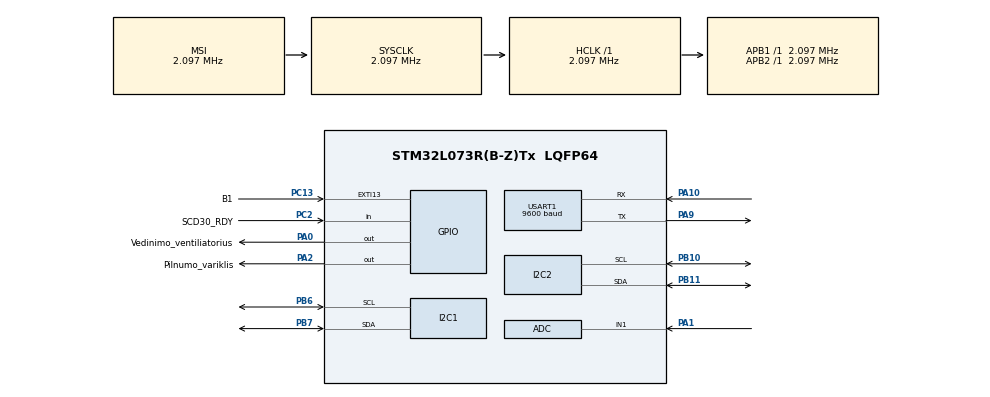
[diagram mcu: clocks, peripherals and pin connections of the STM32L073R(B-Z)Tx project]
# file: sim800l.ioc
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I2C1.Timing=0x00000608
I2C2.Timing=0x00000608
Mcu.Family=STM32L0
Mcu.Name=STM32L073R(B-Z)Tx
Mcu.Package=LQFP64
NVIC.USART1_IRQn=true\:0\:0\:false\:false\:true\:true\:true\:true
PA0.GPIO_Label=Vedinimo_ventiliatorius
PA0.Signal=GPIO_Output
PA1.Mode=IN1
PA1.Signal=ADC_IN1
PA10.Mode=Asynchronous
PA10.Signal=USART1_RX
PA13.GPIO_Label=TMS
PA13.Mode=Serial_Wire
PA13.Signal=SYS_SWDIO
PA14.GPIO_Label=TCK
PA14.Mode=Serial_Wire
PA14.Signal=SYS_SWCLK
PA2.GPIO_Label=Pilnumo_variklis
PA2.Signal=GPIO_Output
PA9.Mode=Asynchronous
PA9.Signal=USART1_TX
PB10.Mode=I2C
PB10.Signal=I2C2_SCL
PB11.Mode=I2C
PB11.Signal=I2C2_SDA
PB6.Mode=I2C
PB6.Signal=I2C1_SCL
PB7.Mode=I2C
PB7.Signal=I2C1_SDA
PC13.GPIO_Label=B1 
PC13.GPIO_ModeDefaultEXTI=GPIO_MODE_IT_FALLING
PC13.Signal=GPXTI13
PC14-OSC32_IN.Mode=LSE-External-Oscillator
PC14-OSC32_IN.Signal=RCC_OSC32_IN
PC15-OSC32_OUT.Mode=LSE-External-Oscillator
PC15-OSC32_OUT.Signal=RCC_OSC32_OUT
PC2.GPIO_Label=SCD30_RDY
PC2.Signal=GPIO_Input
PH0-OSC_IN.GPIO_Label=MCO
PH0-OSC_IN.Mode=HSE-External-Clock-Source
PH0-OSC_IN.Signal=RCC_OSC_IN
ProjectManager.HeapSize=0x200
ProjectManager.StackSize=0x400
ProjectManager.TargetToolchain=STM32CubeIDE
RCC.AHBFreq_Value=2097000
RCC.APB1Freq_Value=2097000
RCC.APB1TimFreq_Value=2097000
RCC.APB2Freq_Value=2097000
RCC.APB2TimFreq_Value=2097000
RCC.HSE_VALUE=8000000
RCC.HSI16_VALUE=16000000
RCC.HSI48_VALUE=48000000
RCC.HSI_VALUE=16000000
RCC.MSI_VALUE=2097000
RCC.SYSCLKFreq_VALUE=2097000
RCC.VCOOutputFreq_Value=48000000
USART1.BaudRate=9600
USART1.VirtualMode-Asynchronous=VM_ASYNC
board=NUCLEO-L073RZ

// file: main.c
/* USER CODE BEGIN Header */
/**
  ******************************************************************************
  * @file           : main.c
  * @brief          : Main program body
  ******************************************************************************
  * @attention
  *
  * Copyright (c) 2025 STMicroelectronics.
  * All rights reserved.
  *
  * This software is licensed under terms that can be found in the LICENSE file
  * in the root directory of this software component.
  * If no LICENSE file comes with this software, it is provided AS-IS.
  *
  ******************************************************************************
  */
/* USER CODE END Header */
#include "main.h"

/* USER CODE BEGIN Includes */
#include <stdlib.h>
#include <string.h>
#include <stdio.h>
#include <stdbool.h>
#include <math.h>
/* USER CODE END Includes */

ADC_HandleTypeDef hadc;

I2C_HandleTypeDef hi2c1;
I2C_HandleTypeDef hi2c2;

UART_HandleTypeDef huart1;

/* USER CODE BEGIN PV */

/* ====== KONFIGŪRACIJA ====== */
#define SIM800_UART                 huart1

#define DEVICE_ID     "bokstas-001"
#define PHONE_NUMBER  "+37062735795"   // <-- pakeisk
#define SMS_PERIOD_MS 60000UL

/* ====== SHT40 + PCA9548A KONFIGŪRACIJA ====== */
#define SHT40_ADDR                  (0x44 << 1)      // 7-bit address shifted for HAL
#define SHT40_MEASURE_HIGH_PREC     0xFD
#define PCA9548A_ADDR               (0x70 << 1)

#define TEMP_RIBA                   25.0f  //25.0f
#define DREGMES_RIBA                14.5f  //14.5f

#define JUTIKLIU_KIEKIS             6

#define CURRENT_LIMIT_MA  910.0f
#define SHUNT_RESISTOR    0.1f
#define ADC_REF_VOLTAGE   3.3f

/* “MC” formulės konstantos */
static const float A_const = 0.000043295f;
static const float B_const = 2.11190f;
static const float C_const = 41.565f;

/* Matavimų buferiai */
static float temp[JUTIKLIU_KIEKIS];
static float hum_mc[JUTIKLIU_KIEKIS];
static uint8_t valid[JUTIKLIU_KIEKIS];

static uint32_t last_sms = 0;
static uint32_t last_measure = 0;

static int scd30_status = 0;   // 0=init, 1=started, -1=no dev, -2=start fail, -3=read fail
static uint32_t scd30_last_read = 0;

static uint32_t motor_cycle_timer = 0;
static uint8_t motor_active = 0;
static uint32_t last_current_measure = 0;

float current = 0;

uint32_t motor_start_time = 0;
#define MOTOR_STARTUP_IGNORE_MS 1500  // 1.5 sekundės ignoruojame šuolį

#define SCD30_ADDR                  (0x61 << 1)

/* SCD30 reikšmės */
static float scd30_co2_ppm = 0.0f;
static float scd30_temp_c  = 0.0f;
static float scd30_rh_pct  = 0.0f;

static uint8_t scd30_started = 0;
static uint32_t scd30_next_poll = 0;

/* USER CODE END PV */

void SystemClock_Config(void);
static void MX_GPIO_Init(void);
static void MX_USART1_UART_Init(void);
static void MX_I2C1_Init(void);
static void MX_I2C2_Init(void);
static void MX_ADC_Init(void);
/* USER CODE BEGIN PFP */

static void SIM800_SendCmd(const char *cmd);
static void SIM800_SendSMS(const char *number, const char *text);

static HAL_StatusTypeDef PCA9548A_SelectChannel(uint8_t channel);
static HAL_StatusTypeDef SHT40_Read(uint8_t channel, float *temperatura, float *dregme_mc);

/* SCD30 */
static uint8_t scd30_crc8(const uint8_t *data, int len);
static HAL_StatusTypeDef SCD30_StartContinuousMeasurement(void);
static HAL_StatusTypeDef SCD30_GetDataReady(uint8_t *ready);
static HAL_StatusTypeDef SCD30_ReadMeasurement(float *co2_ppm, float *temp_c, float *rh_pct);
static void SCD30_Task(void);

/* Formatavimas su kableliu */
static void fmt_float_comma(char *out, size_t out_sz, float v, int decimals);

float Measure_Current(void);
void SIM800_Init_Receive(void);
/* USER CODE END PFP */

/* USER CODE BEGIN 0 */

float Measure_Current(void) {
    uint32_t total_raw = 0;
    int samples = 10; // nuskaitome 10 kartų

    for(int i = 0; i < samples; i++) {
        HAL_ADC_Start(&hadc);
        HAL_ADC_PollForConversion(&hadc, 2);
        total_raw += HAL_ADC_GetValue(&hadc);
    }

    float avg_raw = (float)total_raw / samples;
    float voltage = (avg_raw * ADC_REF_VOLTAGE) / 4095.0f;
    return (voltage / SHUNT_RESISTOR) * 1000.0f;
}

// Funkcija išvalyti SIM800 buferį ir paruošti priėmimui
void SIM800_Init_Receive(void) {
    SIM800_SendCmd("AT+CNMI=2,2,0,0,0\r\n"); // Tiesioginis SMS rodymas UART'e
}

/* ---------------- Pagalbinė funkcija: float -> "12,34" ---------------- */
static void fmt_float_comma(char *out, size_t out_sz, float v, int decimals)
{
    if (!out || out_sz == 0) return;

    char fmt[8];
    // pvz. "%.2f"
    snprintf(fmt, sizeof(fmt), "%%.%df", decimals);

    snprintf(out, out_sz, fmt, (double)v);

    // pakeičiam '.' į ','
    for (size_t i = 0; i < out_sz && out[i] != '\0'; i++)
    {
        if (out[i] == '.')
            out[i] = ',';
    }
}

/* ---------------- SIM800 ---------------- */
static void SIM800_SendCmd(const char *cmd)
{
    HAL_UART_Transmit(&huart1, (uint8_t*)cmd, (uint16_t)strlen(cmd), 1000);
    HAL_Delay(300);
}

static void SIM800_SendSMS(const char *number, const char *text)
{
    char cmd[64];

    SIM800_SendCmd("AT\r\n");
    SIM800_SendCmd("ATE0\r\n");
    SIM800_SendCmd("AT+CMGF=1\r\n");   // SMS TEXT MODE

    snprintf(cmd, sizeof(cmd), "AT+CMGS=\"%s\"\r\n", number);
    SIM800_SendCmd(cmd);

    HAL_UART_Transmit(&huart1, (uint8_t*)text, (uint16_t)strlen(text), 3000);

    uint8_t ctrlZ = 26;
    HAL_UART_Transmit(&huart1, &ctrlZ, 1, 1000);

    HAL_Delay(5000); // palaukiam išsiuntimo
}

/* ---------------- PCA9548A ---------------- */
static HAL_StatusTypeDef PCA9548A_SelectChannel(uint8_t channel)
{
    uint8_t data = (uint8_t)(1U << channel);
    return HAL_I2C_Master_Transmit(&hi2c1, PCA9548A_ADDR, &data, 1, 20);
}

/* ---------------- SHT40 ---------------- */
static HAL_StatusTypeDef SHT40_Read(uint8_t channel, float *temperatura, float *dregme_mc)
{
    uint8_t cmd = SHT40_MEASURE_HIGH_PREC;
    uint8_t data[6];
    HAL_StatusTypeDef status;

    status = PCA9548A_SelectChannel(channel);
    if (status != HAL_OK)
    {
        *temperatura = 0.0f;
        *dregme_mc   = 0.0f;
        return status;
    }

    status = HAL_I2C_IsDeviceReady(&hi2c1, SHT40_ADDR, 2, 20);
    if (status != HAL_OK)
    {
        *temperatura = 0.0f;
        *dregme_mc   = 0.0f;
        return status;
    }

    status = HAL_I2C_Master_Transmit(&hi2c1, SHT40_ADDR, &cmd, 1, 50);
    if (status != HAL_OK)
    {
        *temperatura = 0.0f;
        *dregme_mc   = 0.0f;
        return status;
    }

    HAL_Delay(10);

    status = HAL_I2C_Master_Receive(&hi2c1, SHT40_ADDR, data, 6, 50);
    if (status != HAL_OK)
    {
        *temperatura = 0.0f;
        *dregme_mc   = 0.0f;
        return status;
    }

    uint16_t rawT  = (uint16_t)((data[0] << 8) | data[1]);
    uint16_t rawRH = (uint16_t)((data[3] << 8) | data[4]);

    *temperatura = -45.0f + (175.0f * (float)rawT  / 65535.0f);      // °C
    float rh_pct = -6.0f  + (125.0f * (float)rawRH / 65535.0f);      // %RH

    /* MC = [ -ln(1 - RH) / (A * (T + C)) ]^(1/B) */
    float RH = rh_pct / 100.0f;
    if (RH <= 0.0f) RH = 0.0001f;
    if (RH >= 1.0f) RH = 0.9999f;

    float skaitiklis   = -logf(1.0f - RH);
    float vardiklis    = A_const * (*temperatura + C_const);
    float skliaustuose = skaitiklis / vardiklis;

    if (skliaustuose <= 0.0f)
    {
        *dregme_mc = 0.0f;
        return HAL_OK;
    }

    float MC = powf(skliaustuose, 1.0f / B_const);
    float MC_wb = (MC / (100.0f + MC)) * 100.0f;

    *dregme_mc = MC_wb;

    return HAL_OK;
}

/* ================= SCD30 ================= */
static uint8_t scd30_crc8(const uint8_t *data, int len)
{
    // CRC-8 polynomial 0x31, init 0xFF (Sensirion)
    uint8_t crc = 0xFF;
    for (int i = 0; i < len; i++)
    {
        crc ^= data[i];
        for (int b = 0; b < 8; b++)
        {
            crc = (crc & 0x80) ? (uint8_t)((crc << 1) ^ 0x31) : (uint8_t)(crc << 1);
        }
    }
    return crc;
}

static HAL_StatusTypeDef SCD30_StartContinuousMeasurement(void)
{
    // Command: 0x0010, arg: 0x0000 (ambient pressure disabled)
    uint8_t cmd[5];
    cmd[0] = 0x00; cmd[1] = 0x10;
    cmd[2] = 0x00; cmd[3] = 0x00;
    cmd[4] = scd30_crc8(&cmd[2], 2);

    return HAL_I2C_Master_Transmit(&hi2c2, SCD30_ADDR, cmd, 5, 200);
}

static inline uint8_t SCD30_DataReady_GPIO(void)
{
    return (HAL_GPIO_ReadPin(SCD30_RDY_GPIO_Port, SCD30_RDY_Pin) == GPIO_PIN_SET);
}

static HAL_StatusTypeDef SCD30_ReadMeasurement(float *co2_ppm, float *temp_c, float *rh_pct)
{
    // Command: 0x0300, read 3 floats => 18 bytes (2 bytes + CRC per word)
    uint8_t cmd[2] = {0x03, 0x00};
    uint8_t rx[18];

    if (HAL_I2C_Master_Transmit(&hi2c2, SCD30_ADDR, cmd, 2, 200) != HAL_OK)
        return HAL_ERROR;

    HAL_Delay(2);

    if (HAL_I2C_Master_Receive(&hi2c2, SCD30_ADDR, rx, 18, 200) != HAL_OK)
        return HAL_ERROR;

    for (int i = 0; i < 18; i += 3)
    {
        if (scd30_crc8(&rx[i], 2) != rx[i + 2])
            return HAL_ERROR;
    }

    uint32_t co2_u =
        ((uint32_t)rx[0] << 24) | ((uint32_t)rx[1] << 16) |
        ((uint32_t)rx[3] <<  8) | ((uint32_t)rx[4] <<  0);

    uint32_t t_u =
        ((uint32_t)rx[6] << 24) | ((uint32_t)rx[7] << 16) |
        ((uint32_t)rx[9] <<  8) | ((uint32_t)rx[10] << 0);

    uint32_t rh_u =
        ((uint32_t)rx[12] << 24) | ((uint32_t)rx[13] << 16) |
        ((uint32_t)rx[15] <<  8) | ((uint32_t)rx[16] << 0);

    memcpy(co2_ppm, &co2_u, 4);
    memcpy(temp_c,  &t_u,   4);
    memcpy(rh_pct,  &rh_u,  4);

    return HAL_OK;
}

static void SCD30_Task(void)
{
	uint32_t now = HAL_GetTick();

	    /* 1) Startuojam vieną kartą */
	    if (!scd30_started)
	    {
	        if (HAL_I2C_IsDeviceReady(&hi2c2, SCD30_ADDR, 3, 100) != HAL_OK)
	        {
	            scd30_status = -1; // nemato per I2C
	            return;
	        }

	        if (SCD30_StartContinuousMeasurement() != HAL_OK)
	        {
	            scd30_status = -2; // start fail
	            return;
	        }

	        scd30_started   = 1;
	        scd30_status    = 1;
	        scd30_next_poll = now + 2500;   // laukiam pirmo matavimo
	        return;
	    }

	    /* 2) Neskaitom per dažnai */
	    if ((int32_t)(now - scd30_next_poll) < 0)
	        return;

	    /* 3) Tikrinam RDY PINĄ */
	    if (!SCD30_DataReady_GPIO())
	    {
	        // dar nėra naujų duomenų
	        return;
	    }

	    /* 4) Bandom skaityti */
	    if (SCD30_ReadMeasurement(&scd30_co2_ppm,
	                              &scd30_temp_c,
	                              &scd30_rh_pct) != HAL_OK)
	    {
	        scd30_status = -3; // read / CRC fail
	        scd30_next_poll = now + 1000; // bandysim dar kartą po 1s
	        return;
	    }

	    /* 5) Sėkmingas skaitymas */
	    scd30_status    = 1;
	    scd30_last_read = now;
	    scd30_next_poll = now + 2000; // SCD30 tipinis intervalas
}

/* USER CODE END 0 */

int main(void)
{

  /* MCU Configuration--------------------------------------------------------*/

  /* Reset of all peripherals, Initializes the Flash interface and the Systick. */
  HAL_Init();

  /* Configure the system clock */
  SystemClock_Config();

  /* Initialize all configured peripherals */
  MX_GPIO_Init();
  MX_USART1_UART_Init();
  MX_I2C1_Init();
  MX_I2C2_Init();
  MX_ADC_Init();
  /* USER CODE BEGIN 2 */

  HAL_GPIO_WritePin(Pilnumo_variklis_GPIO_Port, Pilnumo_variklis_Pin, GPIO_PIN_SET);

  HAL_Delay(4000); // SIM800 boot

    last_sms = HAL_GetTick();
    last_measure = HAL_GetTick();
    scd30_next_poll = HAL_GetTick() + 1000;

    SIM800_Init_Receive();

  /* USER CODE END 2 */

  /* Infinite loop */
  /* USER CODE BEGIN WHILE */
    while (1)
     {

    	 uint32_t now = HAL_GetTick();

    	      /* SCD30 atnaujinam kas ~1s (CO2 + T + RH) */
    	      SCD30_Task();

    	      // 1. Tikriname, ar laikas paleisti variklį (kas 60000 ms)
    	          if (!motor_active && (now - motor_cycle_timer >= 60000UL))
    	          {
    	              motor_cycle_timer = now;
    	              motor_start_time = now;
    	              motor_active = 1;
    	              // ĮJUNGTI variklį (RESET = ON jūsų schemoje)
    	              HAL_GPIO_WritePin(Pilnumo_variklis_GPIO_Port, Pilnumo_variklis_Pin, GPIO_PIN_RESET);
    	          }

    	          // 2. Jei variklis veikia, tikriname srovę ir veikimo laiką
    	          if (motor_active)
    	          {
    	        	  // A. PALEIDIMO LOGIKA: Kas 60 sekundžių įjungiam variklį
    	        	  if (!motor_active && (now - motor_cycle_timer >= 60000UL)) {
    	        	      motor_active = 1;
    	        	      motor_start_time = now; // Užfiksuojam TIKSLŲ įjungimo laiką

    	        	      // ĮJUNGIAM: RESET = ON (pagal jūsų schemą)
    	        	      HAL_GPIO_WritePin(Pilnumo_variklis_GPIO_Port, Pilnumo_variklis_Pin, GPIO_PIN_RESET);
    	        	  }

    	        	  // B. VEIKIMO LOGIKA: Tikrinam srovę ir laiko limitą
    	        	  if (motor_active) {

    	        	      // APSAUGA: Srovę matuojame TIK jei praėjo daugiau nei 1.5s (Startup Ignore)
    	        	      // Tai apsaugo nuo srovės šuolio fiksavimo paleidimo metu
    	        	      if (now - motor_start_time > MOTOR_STARTUP_IGNORE_MS) {

    	        	          // Matuojame srovę kas 200ms, kad neapkrautume procesoriaus
    	        	          if (now - last_current_measure >= 200) {
    	        	              last_current_measure = now;
    	        	              float current = Measure_Current();

    	        	              if (current > CURRENT_LIMIT_MA) {
    	        	                  // STABDOME: viršyta srovė (užsipildė)
    	        	                  motor_active = 0;
    	        	                  HAL_GPIO_WritePin(Pilnumo_variklis_GPIO_Port, Pilnumo_variklis_Pin, GPIO_PIN_SET);
    	        	                  SIM800_SendSMS(PHONE_NUMBER, "FULL");
    	        	                  motor_cycle_timer = now; // Pradedam laukti naujos minutės nuo dabar
    	        	              }
    	        	          }
    	        	      }

    	        	      // C. LAIKO LIMITAS: Jei srovė nebuvo viršyta, po 5s variklį išjungiam
    	        	      if (motor_active && (now - motor_start_time >= 5000UL)) {
    	        	          motor_active = 0;
    	        	          // IŠJUNGIAM: SET = OFF
    	        	          HAL_GPIO_WritePin(Pilnumo_variklis_GPIO_Port, Pilnumo_variklis_Pin, GPIO_PIN_SET);
    	        	          motor_cycle_timer = now; // Ciklas baigtas, laukiam minutės
    	        	      }
    	        	  }
    	          }

    	      /* ---- 1) SHT40 nuskaitymai kas 1s ---- */
    	      if (now - last_measure >= 1000UL)
    	      {
    	          last_measure = now;

    	          if (HAL_I2C_IsDeviceReady(&hi2c1, PCA9548A_ADDR, 2, 20) != HAL_OK)
    	          {
    	              for (uint8_t i = 0; i < JUTIKLIU_KIEKIS; i++)
    	              {
    	                  valid[i]  = 0;
    	                  temp[i]   = 0.0f;
    	                  hum_mc[i] = 0.0f;
    	              }
    	          }
    	          else
    	          {
    	              for (uint8_t i = 0; i < JUTIKLIU_KIEKIS; i++)
    	              {
    	                  HAL_StatusTypeDef st = SHT40_Read(i, &temp[i], &hum_mc[i]);
    	                  valid[i] = (st == HAL_OK) ? 1U : 0U;
    	                  if (!valid[i])
    	                  {
    	                      temp[i]   = 0.0f;
    	                      hum_mc[i] = 0.0f;
    	                  }
    	              }
    	          }

    	          /* Ventiliatoriaus logika pagal ribas (SHT40) */
    	          uint8_t overLimit = 0;
    	          for (uint8_t i = 0; i < JUTIKLIU_KIEKIS; i++)
    	          {
    	              if (valid[i])
    	              {
    	                  if (temp[i] > TEMP_RIBA || hum_mc[i] > DREGMES_RIBA)
    	                  {
    	                      overLimit = 1;
    	                      break;
    	                  }
    	              }
    	          }

    	          if (overLimit)
    	          {
    	              HAL_GPIO_WritePin(Vedinimo_ventiliatorius_GPIO_Port,
    	                                Vedinimo_ventiliatorius_Pin,
    	                                GPIO_PIN_RESET);
    	          }
    	          else
    	          {
    	              HAL_GPIO_WritePin(Vedinimo_ventiliatorius_GPIO_Port,
    	                                Vedinimo_ventiliatorius_Pin,
    	                                GPIO_PIN_SET);
    	          }
    	      }

    	      /* ---- 2) SMS kas SMS_PERIOD_MS ---- */
    	      if (now - last_sms >= SMS_PERIOD_MS)
    	      {
    	          last_sms = now;

    	          /* Paruošiam su kableliu */
    	          char T1[16],T2[16],T3[16],T4[16],T5[16],T6[16];
    	          char D1[16],D2[16],D3[16],D4[16],D5[16],D6[16];

    	          float tval[JUTIKLIU_KIEKIS];
    	          float dval[JUTIKLIU_KIEKIS];

    	          for (uint8_t i = 0; i < JUTIKLIU_KIEKIS; i++)
    	          {
    	              if (valid[i])
    	              {
    	                  tval[i] = temp[i];
    	                  dval[i] = hum_mc[i];
    	              }
    	              else
    	              {
    	                  tval[i] = 0.0f;
    	                  dval[i] = 0.0f;
    	              }
    	          }

    	          fmt_float_comma(T1, sizeof(T1), tval[0], 2);
    	          fmt_float_comma(T2, sizeof(T2), tval[1], 2);
    	          fmt_float_comma(T3, sizeof(T3), tval[2], 2);
    	          fmt_float_comma(T4, sizeof(T4), tval[3], 2);
    	          fmt_float_comma(T5, sizeof(T5), tval[4], 2);
    	          fmt_float_comma(T6, sizeof(T6), tval[5], 2);

    	          fmt_float_comma(D1, sizeof(D1), dval[0], 2);
    	          fmt_float_comma(D2, sizeof(D2), dval[1], 2);
    	          fmt_float_comma(D3, sizeof(D3), dval[2], 2);
    	          fmt_float_comma(D4, sizeof(D4), dval[3], 2);
    	          fmt_float_comma(D5, sizeof(D5), dval[4], 2);
    	          fmt_float_comma(D6, sizeof(D6), dval[5], 2);

    	          /* Tall iš SCD30 temperatūros (su kableliu) */
    	          char Tall[16];
    	          if (scd30_started)
    	              fmt_float_comma(Tall, sizeof(Tall), scd30_temp_c, 2);
    	          else
    	              strncpy(Tall, "0,00", sizeof(Tall));

    	          /* CO2 iš SCD30 (ppm, sveikas) */
    	          int CO2 = (scd30_started && scd30_co2_ppm > 0.0f) ? (int)(scd30_co2_ppm + 0.5f) : 0;

    	          int FAN = (HAL_GPIO_ReadPin(Vedinimo_ventiliatorius_GPIO_Port,
    	                                      Vedinimo_ventiliatorius_Pin) == GPIO_PIN_RESET) ? 1 : 0;

    	          /* CODE: 0=OK, 1=viršytos ribos, 2=nėra multiplekserio */
    	          int CODE = 0;

    	          if (HAL_I2C_IsDeviceReady(&hi2c1, PCA9548A_ADDR, 2, 20) != HAL_OK)
    	          {
    	              CODE = 2;
    	          }
    	          else
    	          {
    	              for (uint8_t i = 0; i < JUTIKLIU_KIEKIS; i++)
    	              {
    	                  if (valid[i] && (temp[i] > TEMP_RIBA || hum_mc[i] > DREGMES_RIBA))
    	                  {
    	                      CODE = 1;
    	                      break;
    	                  }
    	              }
    	          }

    	          int LVL = 0;

    	          char sms[420];
    	          snprintf(sms, sizeof(sms),
    	                   "ID=%s;"
    	                   "T1=%s;T2=%s;T3=%s;T4=%s;T5=%s;T6=%s;"
    	                   "D1=%s;D2=%s;D3=%s;D4=%s;D5=%s;D6=%s;"
    	                   "Tall=%s;CO2=%d;LVL=%d;FAN=%d;CODE=%d",
    	                   DEVICE_ID,
    	                   T1,T2,T3,T4,T5,T6,
    	                   D1,D2,D3,D4,D5,D6,
    	                   Tall, CO2, LVL, FAN, CODE);

    	          SIM800_SendSMS(PHONE_NUMBER, sms);
    	      }

    	      HAL_Delay(50);

    /* USER CODE END WHILE */

  }
}

void SystemClock_Config(void)
{
  RCC_OscInitTypeDef RCC_OscInitStruct = {0};
  RCC_ClkInitTypeDef RCC_ClkInitStruct = {0};
  RCC_PeriphCLKInitTypeDef PeriphClkInit = {0};

  /** Configure the main internal regulator output voltage
  */
  __HAL_PWR_VOLTAGESCALING_CONFIG(PWR_REGULATOR_VOLTAGE_SCALE1);

  /** Initializes the RCC Oscillators according to the specified parameters
  * in the RCC_OscInitTypeDef structure.
  */
  RCC_OscInitStruct.OscillatorType = RCC_OSCILLATORTYPE_MSI;
  RCC_OscInitStruct.MSIState = RCC_MSI_ON;
  RCC_OscInitStruct.MSICalibrationValue = 0;
  RCC_OscInitStruct.MSIClockRange = RCC_MSIRANGE_5;
  RCC_OscInitStruct.PLL.PLLState = RCC_PLL_NONE;
  if (HAL_RCC_OscConfig(&RCC_OscInitStruct) != HAL_OK)
  {
    Error_Handler();
  }

  /** Initializes the CPU, AHB and APB buses clocks
  */
  RCC_ClkInitStruct.ClockType = RCC_CLOCKTYPE_HCLK|RCC_CLOCKTYPE_SYSCLK
                              |RCC_CLOCKTYPE_PCLK1|RCC_CLOCKTYPE_PCLK2;
  RCC_ClkInitStruct.SYSCLKSource = RCC_SYSCLKSOURCE_MSI;
  RCC_ClkInitStruct.AHBCLKDivider = RCC_SYSCLK_DIV1;
  RCC_ClkInitStruct.APB1CLKDivider = RCC_HCLK_DIV1;
  RCC_ClkInitStruct.APB2CLKDivider = RCC_HCLK_DIV1;

  if (HAL_RCC_ClockConfig(&RCC_ClkInitStruct, FLASH_LATENCY_0) != HAL_OK)
  {
    Error_Handler();
  }
  PeriphClkInit.PeriphClockSelection = RCC_PERIPHCLK_USART1|RCC_PERIPHCLK_I2C1;
  PeriphClkInit.Usart1ClockSelection = RCC_USART1CLKSOURCE_PCLK2;
  PeriphClkInit.I2c1ClockSelection = RCC_I2C1CLKSOURCE_PCLK1;
  if (HAL_RCCEx_PeriphCLKConfig(&PeriphClkInit) != HAL_OK)
  {
    Error_Handler();
  }
}

static void MX_ADC_Init(void)
{

  ADC_ChannelConfTypeDef sConfig = {0};

  /** Configure the global features of the ADC (Clock, Resolution, Data Alignment and number of conversion)
  */
  hadc.Instance = ADC1;
  hadc.Init.OversamplingMode = DISABLE;
  hadc.Init.ClockPrescaler = ADC_CLOCK_SYNC_PCLK_DIV1;
  hadc.Init.Resolution = ADC_RESOLUTION_12B;
  hadc.Init.SamplingTime = ADC_SAMPLETIME_1CYCLE_5;
  hadc.Init.ScanConvMode = ADC_SCAN_DIRECTION_FORWARD;
  hadc.Init.DataAlign = ADC_DATAALIGN_RIGHT;
  hadc.Init.ContinuousConvMode = DISABLE;
  hadc.Init.DiscontinuousConvMode = DISABLE;
  hadc.Init.ExternalTrigConvEdge = ADC_EXTERNALTRIGCONVEDGE_NONE;
  hadc.Init.ExternalTrigConv = ADC_SOFTWARE_START;
  hadc.Init.DMAContinuousRequests = DISABLE;
  hadc.Init.EOCSelection = ADC_EOC_SINGLE_CONV;
  hadc.Init.Overrun = ADC_OVR_DATA_PRESERVED;
  hadc.Init.LowPowerAutoWait = DISABLE;
  hadc.Init.LowPowerFrequencyMode = ENABLE;
  hadc.Init.LowPowerAutoPowerOff = DISABLE;
  if (HAL_ADC_Init(&hadc) != HAL_OK)
  {
    Error_Handler();
  }

  /** Configure for the selected ADC regular channel to be converted.
  */
  sConfig.Channel = ADC_CHANNEL_1;
  sConfig.Rank = ADC_RANK_CHANNEL_NUMBER;
  if (HAL_ADC_ConfigChannel(&hadc, &sConfig) != HAL_OK)
  {
    Error_Handler();
  }

}

static void MX_I2C1_Init(void)
{

  hi2c1.Instance = I2C1;
  hi2c1.Init.Timing = 0x00000608;
  hi2c1.Init.OwnAddress1 = 0;
  hi2c1.Init.AddressingMode = I2C_ADDRESSINGMODE_7BIT;
  hi2c1.Init.DualAddressMode = I2C_DUALADDRESS_DISABLE;
  hi2c1.Init.OwnAddress2 = 0;
  hi2c1.Init.OwnAddress2Masks = I2C_OA2_NOMASK;
  hi2c1.Init.GeneralCallMode = I2C_GENERALCALL_DISABLE;
  hi2c1.Init.NoStretchMode = I2C_NOSTRETCH_DISABLE;
  if (HAL_I2C_Init(&hi2c1) != HAL_OK)
  {
    Error_Handler();
  }

  /** Configure Analogue filter
  */
  if (HAL_I2CEx_ConfigAnalogFilter(&hi2c1, I2C_ANALOGFILTER_ENABLE) != HAL_OK)
  {
    Error_Handler();
  }

  /** Configure Digital filter
  */
  if (HAL_I2CEx_ConfigDigitalFilter(&hi2c1, 0) != HAL_OK)
  {
    Error_Handler();
  }

}

static void MX_I2C2_Init(void)
{

  hi2c2.Instance = I2C2;
  hi2c2.Init.Timing = 0x00000608;
  hi2c2.Init.OwnAddress1 = 0;
  hi2c2.Init.AddressingMode = I2C_ADDRESSINGMODE_7BIT;
  hi2c2.Init.DualAddressMode = I2C_DUALADDRESS_DISABLE;
  hi2c2.Init.OwnAddress2 = 0;
  hi2c2.Init.OwnAddress2Masks = I2C_OA2_NOMASK;
  hi2c2.Init.GeneralCallMode = I2C_GENERALCALL_DISABLE;
  hi2c2.Init.NoStretchMode = I2C_NOSTRETCH_DISABLE;
  if (HAL_I2C_Init(&hi2c2) != HAL_OK)
  {
    Error_Handler();
  }

  /** Configure Analogue filter
  */
  if (HAL_I2CEx_ConfigAnalogFilter(&hi2c2, I2C_ANALOGFILTER_ENABLE) != HAL_OK)
  {
    Error_Handler();
  }

  /** Configure Digital filter
  */
  if (HAL_I2CEx_ConfigDigitalFilter(&hi2c2, 0) != HAL_OK)
  {
    Error_Handler();
  }

}

static void MX_USART1_UART_Init(void)
{

  huart1.Instance = USART1;
  huart1.Init.BaudRate = 9600;
  huart1.Init.WordLength = UART_WORDLENGTH_8B;
  huart1.Init.StopBits = UART_STOPBITS_1;
  huart1.Init.Parity = UART_PARITY_NONE;
  huart1.Init.Mode = UART_MODE_TX_RX;
  huart1.Init.HwFlowCtl = UART_HWCONTROL_NONE;
  huart1.Init.OverSampling = UART_OVERSAMPLING_16;
  huart1.Init.OneBitSampling = UART_ONE_BIT_SAMPLE_DISABLE;
  huart1.AdvancedInit.AdvFeatureInit = UART_ADVFEATURE_NO_INIT;
  if (HAL_UART_Init(&huart1) != HAL_OK)
  {
    Error_Handler();
  }

}

static void MX_GPIO_Init(void)
{
  GPIO_InitTypeDef GPIO_InitStruct = {0};

  /* GPIO Ports Clock Enable */
  __HAL_RCC_GPIOC_CLK_ENABLE();
  __HAL_RCC_GPIOH_CLK_ENABLE();
  __HAL_RCC_GPIOA_CLK_ENABLE();
  __HAL_RCC_GPIOB_CLK_ENABLE();

  /*Configure GPIO pin Output Level */
  HAL_GPIO_WritePin(GPIOA, Vedinimo_ventiliatorius_Pin|Pilnumo_variklis_Pin, GPIO_PIN_RESET);

  /*Configure GPIO pin : B1_Pin */
  GPIO_InitStruct.Pin = B1_Pin;
  GPIO_InitStruct.Mode = GPIO_MODE_IT_FALLING;
  GPIO_InitStruct.Pull = GPIO_NOPULL;
  HAL_GPIO_Init(B1_GPIO_Port, &GPIO_InitStruct);

  /*Configure GPIO pin : SCD30_RDY_Pin */
  GPIO_InitStruct.Pin = SCD30_RDY_Pin;
  GPIO_InitStruct.Mode = GPIO_MODE_INPUT;
  GPIO_InitStruct.Pull = GPIO_NOPULL;
  HAL_GPIO_Init(SCD30_RDY_GPIO_Port, &GPIO_InitStruct);

  /*Configure GPIO pins : Vedinimo_ventiliatorius_Pin Pilnumo_variklis_Pin */
  GPIO_InitStruct.Pin = Vedinimo_ventiliatorius_Pin|Pilnumo_variklis_Pin;
  GPIO_InitStruct.Mode = GPIO_MODE_OUTPUT_PP;
  GPIO_InitStruct.Pull = GPIO_NOPULL;
  GPIO_InitStruct.Speed = GPIO_SPEED_FREQ_LOW;
  HAL_GPIO_Init(GPIOA, &GPIO_InitStruct);

  /* USER CODE BEGIN MX_GPIO_Init_2 */
  __HAL_RCC_SYSCFG_CLK_ENABLE();   // Needed for EXTI on L0 series

    HAL_NVIC_SetPriority(EXTI4_15_IRQn, 0, 0);  // PC13 is EXTI13 → EXTI4_15 IRQ
    HAL_NVIC_EnableIRQ(EXTI4_15_IRQn);
  /* USER CODE END MX_GPIO_Init_2 */
}

void Error_Handler(void)
{
  __disable_irq();
  while (1)
  {
  }
}
